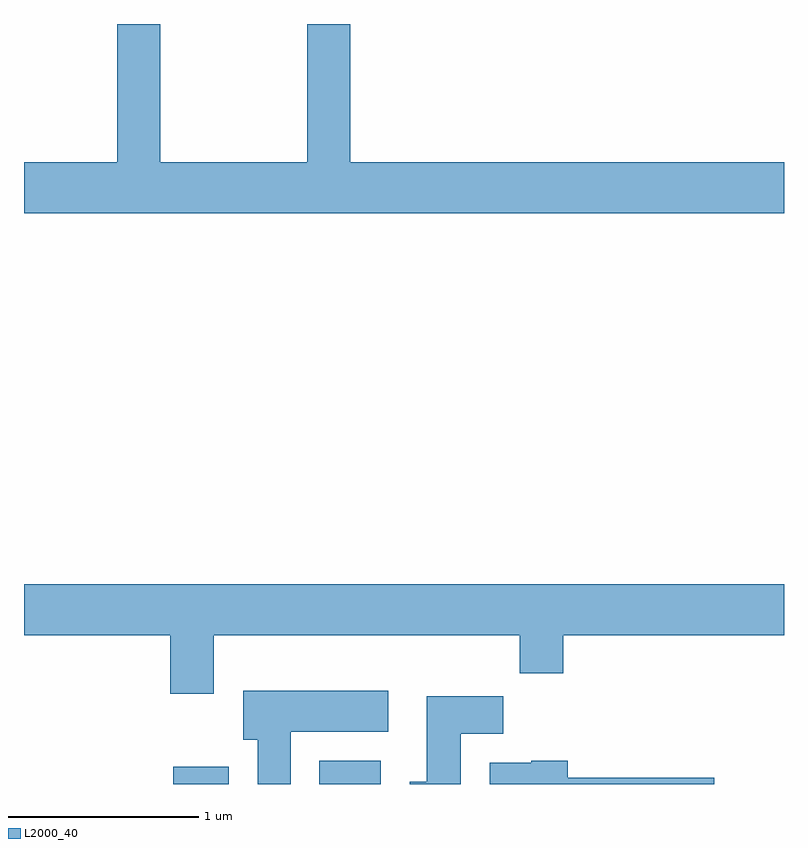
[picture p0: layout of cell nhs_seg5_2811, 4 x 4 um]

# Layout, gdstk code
import gdstk
lib = gdstk.Library(unit=1e-6, precision=1e-09)
def R(c, l, rs):  # rectangles x0, y0, x1, y1
    for r in rs: c.add(gdstk.rectangle(r[:2], r[2:], *l))
def P(c, l, *ps):  # polygons
    for p in ps: c.add(gdstk.Polygon(p, *l))
L2000_40 = (2000, 40)

nhs_seg5_2811 = lib.new_cell('nhs_seg5_2811')
R(nhs_seg5_2811, L2000_40, [(270.396,1396.072,270.689,1396.164), (271.166,1396.072,271.489,1396.194)])
P(nhs_seg5_2811, L2000_40, [(273.611,1399.344),(271.329,1399.344),(271.329,1400.072),(271.101,1400.072),(271.101,1399.344),(270.329,1399.344),(270.329,1400.072),(270.101,1400.072),(270.101,1399.344),(269.611,1399.344),(269.611,1399.076),(273.611,1399.076)],
  [(270.609,1396.856),(272.221,1396.856),(272.221,1396.656),(272.449,1396.656),(272.449,1396.856),(273.611,1396.856),(273.611,1397.124),(269.611,1397.124),(269.611,1396.856),(270.381,1396.856),(270.381,1396.546),(270.609,1396.546)],
  [(271.014,1396.346),(271.529,1396.346),(271.529,1396.564),(270.766,1396.564),(270.766,1396.306),(270.841,1396.306),(270.841,1396.072),(271.014,1396.072)],
  [(271.909,1396.336),(272.134,1396.336),(272.134,1396.534),(271.731,1396.534),(271.731,1396.084),(271.641,1396.084),(271.641,1396.072),(271.909,1396.072)],
  [(273.244,1396.104),(272.474,1396.104),(272.474,1396.194),(272.28,1396.194),(272.28,1396.184),(272.061,1396.184),(272.061,1396.072),(273.244,1396.072)])

lib.write_gds('nhs_seg5_2811.gds')
